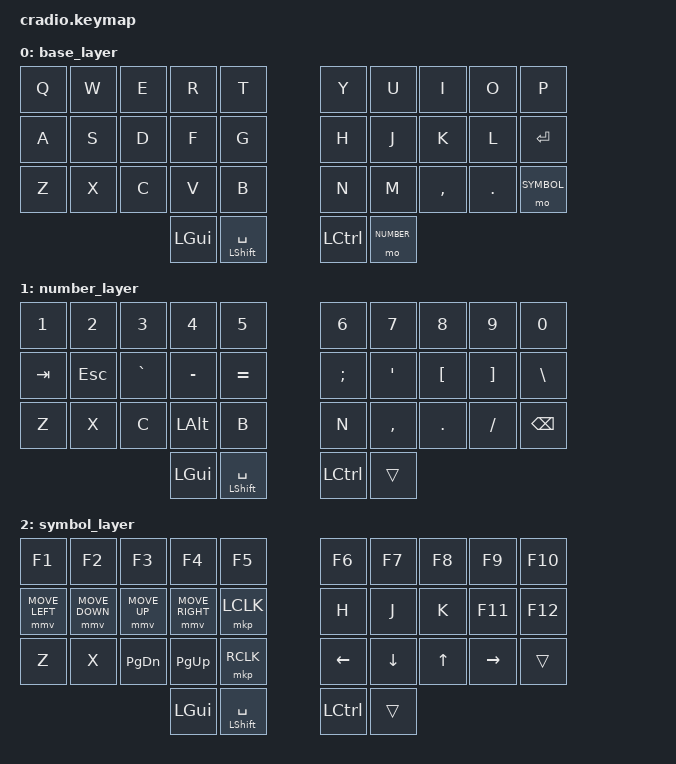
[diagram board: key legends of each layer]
/*
 * Copyright (c) 2020 The ZMK Contributors
 *
 * SPDX-License-Identifier: MIT
 */

#include <behaviors.dtsi>
#include <dt-bindings/zmk/keys.h>
#include <dt-bindings/zmk/bt.h>
#include <dt-bindings/zmk/mouse.h>

/ {


#define BASE 0
#define NUMBER 1
#define SYMBOL 2


  keymap {
    compatible = "zmk,keymap";

    base_layer {
      bindings = <
        &kp Q &kp W  &kp E  &kp R  &kp T      &kp Y  &kp U  &kp I     &kp O   &kp P
        &kp A &kp S  &kp D  &kp F  &kp G      &kp H  &kp J  &kp K     &kp L   &kp RET
        &kp Z &kp X  &kp C  &kp V  &kp B      &kp N  &kp M  &kp COMMA &kp DOT &mo SYMBOL
              &kp LGUI &mt LSHIFT SPACE       &kp LCTRL &mo NUMBER
        >;
    };

    number_layer {
      bindings = <
        &kp N1  &kp N2  &kp N3    &kp N4    &kp N5      &kp N6   &kp N7    &kp N8   &kp N9    &kp N0
        &kp TAB &kp ESCAPE &kp GRAVE &kp MINUS &kp EQUAL   &kp SEMICOLON &kp APOSTROPHE &kp LEFT_BRACKET &kp RIGHT_BRACKET &kp BACKSLASH
        &kp Z   &kp X   &kp C     &kp LALT  &kp B       &kp N    &kp COMMA &kp DOT  &kp SLASH &kp BSPC
              &kp LGUI &mt LSHIFT SPACE       &kp LCTRL &trans
        >;
    };

    symbol_layer {
      bindings = <
        &kp F1         &kp F2         &kp F3       &kp F4          &kp F5       &kp F6   &kp F7   &kp F8 &kp F9    &kp F10
        &mmv MOVE_LEFT &mmv MOVE_DOWN &mmv MOVE_UP &mmv MOVE_RIGHT &mkp LCLK    &kp H    &kp J    &kp K  &kp F11   &kp F12
        &kp Z          &kp X          &kp PG_DN    &kp PG_UP       &mkp RCLK    &kp LEFT &kp DOWN &kp UP &kp RIGHT &trans
              &kp LGUI &mt LSHIFT SPACE       &kp LCTRL &trans
        >;
    };
  };
};
